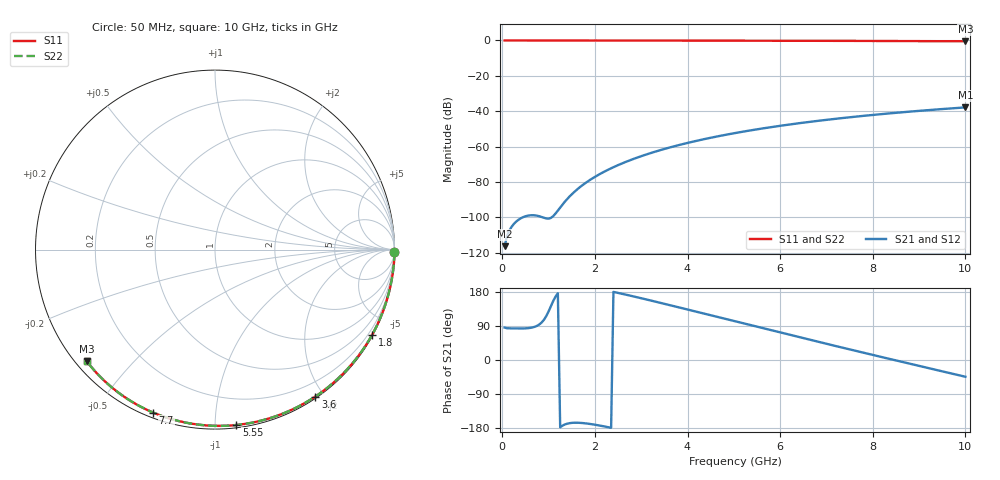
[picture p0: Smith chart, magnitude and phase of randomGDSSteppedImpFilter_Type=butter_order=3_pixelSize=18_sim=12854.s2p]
! freq	dB(S11)	phase(S11)	dB(S12)	phase(S12)
!  dB(S21)	phase(S21)	dB(S22)	phase(S22)
!S-par simulation data
#  GHz  S  DB  R 50
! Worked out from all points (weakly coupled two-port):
!   200 points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, 50 MHz to 10 GHz, reference 50 ohm
!   highest |S21| = -37.81 dB at 10 GHz (marker M1); lowest = -116.2 dB at 50 MHz (marker M2)
!   lowest |S11| = -0.5 dB at 10 GHz (marker M3), VSWR 37.11, Z = 1.54 - j18.7 ohm
!   |S11| at or under -10 dB: nowhere
!   |S22| runs from -0.5 to 0.0 dB; largest |S21 - S12| = 0
!   S11 on the Smith chart (normalised r, x): 50 MHz: open; 1.8 GHz: 0.03, -3.94; 3.6 GHz: 0.02, -1.89; 5.55 GHz: 0.02, -1.13; 7.7 GHz: 0.02, -0.69; 10 GHz: 0.03, -0.37
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0.05  -0.00 -0.8  -116.21 85.5  -116.21 85.5  -0.00 -0.8
0.45  -0.01 -7.2  -99.81 83.2  -99.81 83.2  -0.01 -7.2
0.9  -0.02 -14.4  -100.20 106.2  -100.20 106.2  -0.02 -14.4
1.75  -0.04 -27.7  -81.39 -166.6  -81.39 -166.6  -0.04 -27.7
1.8  -0.04 -28.5  -80.44 -167.2  -80.44 -167.2  -0.04 -28.5
1.85  -0.04 -29.3  -79.54 -168.0  -79.54 -168.0  -0.04 -29.3
2.05  -0.04 -32.4  -76.29 -171.8  -76.29 -171.8  -0.04 -32.4
2.25  -0.05 -35.4  -73.48 -176.5  -73.48 -176.5  -0.05 -35.4
2.55  -0.05 -40.0  -69.86 175.7  -69.86 175.7  -0.05 -40.0
2.95  -0.06 -46.0  -65.82 164.5  -65.82 164.5  -0.06 -46.0
3.4  -0.07 -52.7  -62.04 151.3  -62.04 151.3  -0.07 -52.7
3.6  -0.07 -55.7  -60.56 145.3  -60.56 145.3  -0.07 -55.6
3.9  -0.08 -60.0  -58.52 136.2  -58.52 136.2  -0.08 -60.0
4.3  -0.09 -65.7  -56.08 124.1  -56.08 124.1  -0.09 -65.7
5.05  -0.12 -76.2  -52.19 101.3  -52.19 101.3  -0.12 -76.2
5.55  -0.14 -83.0  -49.99 86.2  -49.99 86.2  -0.14 -83.0
6.1  -0.16 -90.3  -47.85 69.6  -47.85 69.6  -0.16 -90.3
6.7  -0.19 -98.1  -45.78 51.7  -45.78 51.7  -0.19 -98.1
7.7  -0.25 -110.8  -42.85 22.1  -42.85 22.1  -0.25 -110.8
8.35  -0.30 -118.8  -41.22 3.2  -41.22 3.2  -0.30 -118.8
9.2  -0.38 -129.2  -39.35 -21.3  -39.35 -21.3  -0.38 -129.2
10  -0.47 -138.9  -37.81 -44.2  -37.81 -44.2  -0.47 -138.9
